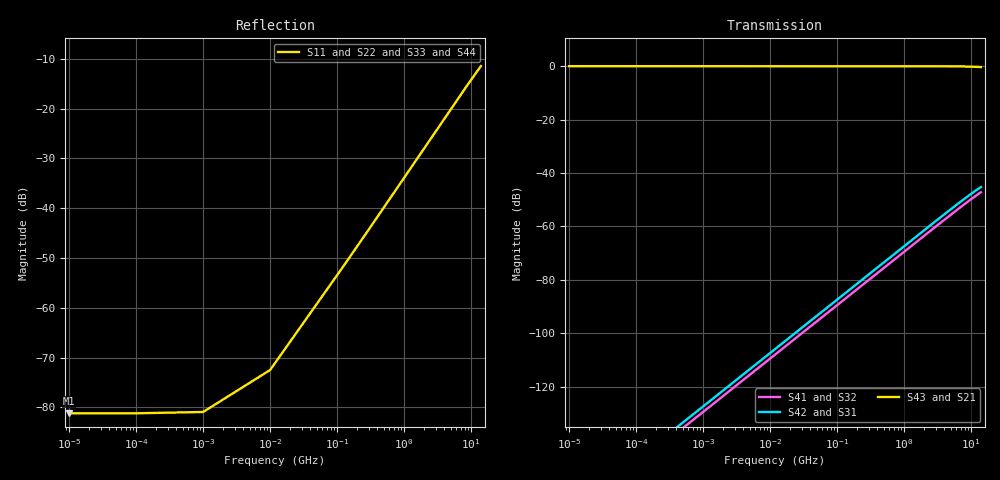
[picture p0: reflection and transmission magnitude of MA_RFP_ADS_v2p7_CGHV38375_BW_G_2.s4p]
! AWR Design Environment (9988) Wed Aug 26 21:58:31 2020
! Document = 'BW_G_2'
! nPorts: 4, nXvals: 324
# GHz S DB R 50
!Freq DBS11 AngS11 DBS12 AngS12 DBS13 AngS13 DBS14 AngS14
!	DBS21 AngS21 DBS22 AngS22 DBS23 AngS23 DBS24 AngS24
!	DBS31 AngS31 DBS32 AngS32 DBS33 AngS33 DBS34 AngS34
!	DBS41 AngS41 DBS42 AngS42 DBS43 AngS43 DBS44 AngS44
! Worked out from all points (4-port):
!   323 points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, 10 kHz to 14 GHz, reference 50 ohm
!   strongest paths, dB at 10 kHz, 680 MHz, 1.17 GHz, 1.98 GHz, 14 GHz:
!     S43: 0.0, 0.0, 0.0, 0.0, -0.3
!     S21: 0.0, 0.0, 0.0, 0.0, -0.3
!     S42: -167.4, -70.8, -66.1, -61.5, -45.3
!     S31: -167.4, -70.8, -66.1, -61.5, -45.3
!     S41: -169.5, -72.8, -68.1, -63.6, -47.2
!     S32: -169.5, -72.8, -68.1, -63.6, -47.2
!   lowest |S11| = -81.2 dB at 10 kHz (marker M1), VSWR 1.00, Z = 50 + j2.2e-05 ohm
!   |S11| at or under -10 dB: start of sweep to end of sweep
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1e-05  -81.19 0.1  -0.00 -0.0  -167.41 90.0  -169.47 -90.0
       -0.00 -0.0  -81.19 0.1  -169.47 -90.0  -167.41 90.0
       -167.41 90.0  -169.47 -90.0  -81.19 0.1  -0.00 -0.0
       -169.47 -90.0  -167.41 90.0  -0.00 -0.0  -81.19 0.1
0.001  -80.92 14.2  -0.00 -0.0  -127.41 90.0  -129.47 -90.0
       -0.00 -0.0  -80.92 14.2  -129.47 -90.0  -127.41 90.0
       -127.41 90.0  -129.47 -90.0  -80.92 14.2  -0.00 -0.0
       -129.47 -90.0  -127.41 90.0  -0.00 -0.0  -80.92 14.2
0.01  -72.50 67.9  -0.00 -0.0  -107.41 90.0  -109.47 -90.0
      -0.00 -0.0  -72.50 67.9  -109.47 -90.0  -107.41 90.0
      -107.41 90.0  -109.47 -90.0  -72.50 67.9  -0.00 -0.0
      -109.47 -90.0  -107.41 90.0  -0.00 -0.0  -72.50 67.9
0.23  -46.46 86.8  -0.00 -0.3  -80.18 89.5  -82.24 -90.7
      -0.00 -0.3  -46.46 86.8  -82.24 -90.7  -80.18 89.5
      -80.18 89.5  -82.24 -90.7  -46.46 86.8  -0.00 -0.3
      -82.24 -90.7  -80.18 89.5  -0.00 -0.3  -46.46 86.8
0.3  -44.21 87.1  -0.00 -0.4  -77.87 89.3  -79.93 -90.9
     -0.00 -0.4  -44.21 87.1  -79.93 -90.9  -77.87 89.3
     -77.87 89.3  -79.93 -90.9  -44.21 87.1  -0.00 -0.4
     -79.93 -90.9  -77.87 89.3  -0.00 -0.4  -44.21 87.1
3.35  -23.52 84.7  -0.03 -4.6  -56.97 82.4  -59.02 -99.5
      -0.03 -4.6  -23.52 84.6  -59.02 -99.5  -56.96 82.3
      -56.97 82.4  -59.02 -99.5  -23.52 84.7  -0.03 -4.6
      -59.02 -99.5  -56.96 82.3  -0.03 -4.6  -23.52 84.6
14  -11.50 70.8  -0.33 -18.9  -45.28 59.3  -47.20 -128.6
    -0.33 -18.9  -11.50 70.7  -47.20 -128.6  -45.28 58.9
    -45.28 59.3  -47.20 -128.6  -11.50 70.8  -0.33 -18.9
    -47.20 -128.6  -45.28 58.9  -0.33 -18.9  -11.50 70.7
